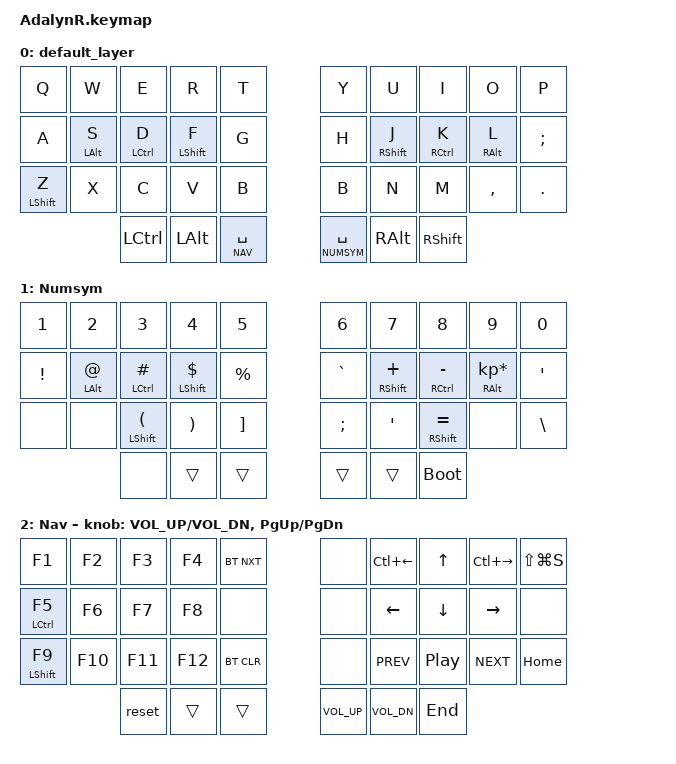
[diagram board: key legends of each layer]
#include <behaviors.dtsi>
#include <dt-bindings/zmk/keys.h>

#define DEFAULT     0
#define NUMSYM      1
#define NAV         2

#define screenshot LS(LG(S))

/ {
    behaviors {
        am: alpha_mods {
            compatible = "zmk,behavior-hold-tap";
            label = "alpha mods";
            #binding-cells = <2>;
            tapping_term_ms = <225>;
            flavor = "tap-preferred";
            bindings = <&kp>, <&kp>;
        };
    };
    
     combos {
     	combo_esc {
            timeout-ms = <27>;
            key-positions = <0 1>;
            bindings = <&kp ESC>;
        };
	combo_lbkt {
            timeout-ms = <27>;
            key-positions = <10 20>;
            bindings = <&kp LBKT>;
        };
	 combo_ask {
            timeout-ms = <27>;
            key-positions = <24 25>;
            bindings = <&kp SLASH>;
        };
	combo_tab {
            timeout-ms = <27>;
            key-positions = <1 2>;
            bindings = <&kp TAB>;
        };
	combo_ent {
            timeout-ms = <27>;
            key-positions = <18 19>;
            bindings = <&kp RET>;
        };
	combo_bksp {
            timeout-ms = <27>;
            key-positions = <17 18>;
            bindings = <&kp BKSP>;
        };
     };
 }; 
 
/ {
    keymap {
        compatible = "zmk,keymap";

        default_layer {
            bindings = <
    &kp Q            &kp W         &kp E         &kp R              &kp T                 &kp Y            &kp U            &kp I            &kp O            &kp P
    &kp A            &am LALT S    &am LCTRL D   &am LSHFT F        &kp G                 &kp H            &am RSHFT J      &am RCTRL K      &am RALT L       &kp SEMI
    &am LSHIFT Z     &kp X         &kp C         &kp V              &kp B                 &kp B            &kp N            &kp M            &kp COMMA        &kp DOT         
    &kp LCTRL                      &kp LALT                         &lt NAV SPACE         &lt NUMSYM SPACE                  &kp RALT                          &kp RSHIFT
            >;
        };

        numsym_layer {
            label = "Numsym";
            bindings = <
    &kp N1           &kp N2         &kp N3         &kp N4         &kp N5           &kp N6           &kp N7           &kp N8           &kp N9               &kp N0   
    &kp EXCL         &am LALT AT    &am LCTRL HASH &am LSHFT DLLR &kp PERCENT      &kp GRAVE        &am RSHFT PLUS   &am RCTRL MINUS  &am RALT KP_ASTERISK &kp SQT
    &none            &none          &am LSHFT LPAR &kp RPAR       &kp RBKT         &kp SEMICOLON    &kp SQT          &am RSHFT EQUAL  &none                &kp BSLH      
    &none                           &trans                        &trans           &trans                            &trans                                &bootloader
            >;
        };

        nav_layer {
            label = "Nav";
            bindings = <
    &kp F1           &kp F2        &kp F3        &kp F4        &bt BT_NXT       &none            &kp LC(LEFT)     &kp UP           &kp LC(RIGHT)    &kp screenshot   
    &am LCTRL F5     &kp F6        &kp F7        &kp F8        &none            &none            &kp LEFT         &kp DOWN         &kp RIGHT        &none
    &am LSHFT F9     &kp F10       &kp F11       &kp F12       &bt BT_CLR       &none            &kp C_PREV       &kp C_PP         &kp C_NEXT       &kp HOME        
    &reset                          &trans                     &trans           &kp C_VOL_UP                      &kp C_VOL_DN                      &kp END
            >;

            sensor-bindings = <&inc_dec_kp C_VOL_UP C_VOL_DN &inc_dec_kp PG_UP PG_DN>;
        };
    };
};
 
